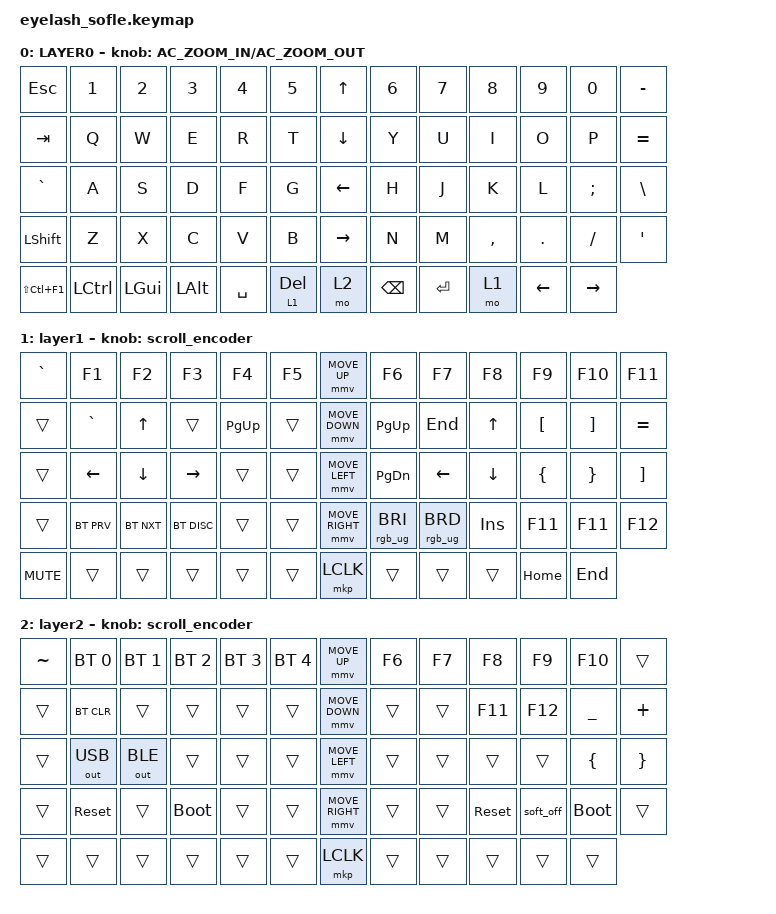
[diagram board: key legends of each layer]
#define ZMK_POINTING_DEFAULT_MOVE_VAL 1200  // 600
#define ZMK_POINTING_DEFAULT_SCRL_VAL 25   // 10

#include <input/processors.dtsi>
#include <zephyr/dt-bindings/input/input-event-codes.h>
#include <behaviors.dtsi>
#include <dt-bindings/zmk/bt.h>
#include <dt-bindings/zmk/keys.h>
#include <dt-bindings/zmk/outputs.h>
#include <dt-bindings/zmk/pointing.h>
#include <dt-bindings/zmk/rgb.h>

&mmv_input_listener { input-processors = <&zip_xy_scaler 2 1>; };

&msc_input_listener { input-processors = <&zip_scroll_scaler 2 1>; };

&msc {
    acceleration-exponent = <1>;      // 0
    time-to-max-speed-ms = <100>;       // 300
    delay-ms = <0>;                   // 0
};

&mmv {
    time-to-max-speed-ms = <500>;
    acceleration-exponent = <1>;
    trigger-period-ms = <16>;
};

&soft_off { hold-time-ms = <2000>; };

/ {
    scroll_encoder: scroll_encoder {
        compatible = "zmk,behavior-sensor-rotate";
        #sensor-binding-cells = <0>;
        bindings = <&msc SCRL_DOWN>, <&msc SCRL_UP>;

        tap-ms = <100>;
    };

    behaviors {
    };

    combos {
        compatible = "zmk,combos";

        softoff {
            bindings = <&soft_off>;
            key-positions = <14 28 40>;
        };

        down_arr {
            bindings = <&kp DOWN_ARROW>;
            key-positions = <62 63>;
        };

        kk2r {
            bindings = <&kp RIGHT_BRACKET>;
            key-positions = <23 24>;
        };

        kk2l {
            bindings = <&kp LEFT_BRACKET>;
            key-positions = <15 14>;
        };

        esc {
            bindings = <&kp ESCAPE>;
            key-positions = <0 1>;
        };

        up_arrow {
            bindings = <&kp UP_ARROW>;
            key-positions = <48 49>;
        };

        f13 {
            bindings = <&kt F13>;
            key-positions = <30 29>;
        };

        f14 {
            bindings = <&kp F14>;
            key-positions = <34 35>;
        };
    };

    macros {
        SHIFT_MCLK: SHIFT_MCLK {
            compatible = "zmk,behavior-macro";
            #binding-cells = <0>;
            bindings =
                <&macro_press>,
                <&kp LEFT_SHIFT>,
                <&macro_press>,
                <&mkp MB3>,
                <&macro_pause_for_release>,
                <&macro_release>,
                <&kp LEFT_SHIFT &mkp MB3>;

            label = "SHIFT_MCLK";
        };
    };

    keymap {
        compatible = "zmk,keymap";

        layer0 {
            bindings = <
&kp ESCAPE      &kp N1     &kp N2        &kp N3        &kp N4     &kp N5       &kp UP_ARROW     &kp N6         &kp N7     &kp N8     &kp N9          &kp N0           &kp MINUS
&kp TAB         &kp Q      &kp W         &kp E         &kp R      &kp T        &kp DOWN_ARROW   &kp Y          &kp U      &kp I      &kp O           &kp P            &kp EQUAL
&kp GRAVE       &kp A      &kp S         &kp D         &kp F      &kp G        &kp LEFT_ARROW   &kp H          &kp J      &kp K      &kp L           &kp SEMI         &kp BACKSLASH
&kp LSHIFT      &kp Z      &kp X         &kp C         &kp V      &kp B        &kp RIGHT_ARROW  &kp N          &kp M      &kp COMMA  &kp DOT         &kp FSLH         &kp SQT
&kp LS(LC(F1))  &kp LCTRL  &kp LEFT_GUI  &kp LEFT_ALT  &kp SPACE  &lt 1 DEL    &mo 2            &kp BACKSPACE  &kp ENTER  &mo 1      &kp LEFT_ARROW  &kp RIGHT_ARROW
            >;

            sensor-bindings = <&inc_dec_kp C_AC_ZOOM_IN C_AC_ZOOM_OUT>;
            display-name = "LAYER0";
        };

        layer_1 {
            bindings = <
&kp GRAVE   &kp F1          &kp F2          &kp F3           &kp F4       &kp F5    &mmv MOVE_UP     &kp F6           &kp F7           &kp F8      &kp F9            &kp F10            &kp F11
&trans      &kp GRAVE       &kp UP_ARROW    &trans           &kp PAGE_UP  &trans    &mmv MOVE_DOWN   &kp PG_UP        &kp END          &kp UP      &kp LEFT_BRACKET  &kp RIGHT_BRACKET  &kp EQUAL
&trans      &kp LEFT_ARROW  &kp DOWN_ARROW  &kp RIGHT_ARROW  &trans       &trans    &mmv MOVE_LEFT   &kp PG_DN        &kp LEFT         &kp DOWN    &kp LEFT_BRACE    &kp RIGHT_BRACE    &kp RIGHT_BRACKET
&trans      &bt BT_PRV      &bt BT_NXT      &bt BT_DISC      &trans       &trans    &mmv MOVE_RIGHT  &rgb_ug RGB_BRI  &rgb_ug RGB_BRD  &kp INSERT  &kp F11           &kp F11            &kp F12
&kp C_MUTE  &trans          &trans          &trans           &trans       &trans    &mkp LCLK        &trans           &trans           &trans      &kp HOME          &kp END
            >;

            display-name = "layer1";
            sensor-bindings = <&scroll_encoder>;
        };

        layer_2 {
            bindings = <
&kp TILDE  &bt BT_SEL 0  &bt BT_SEL 1  &bt BT_SEL 2  &bt BT_SEL 3  &bt BT_SEL 4    &mmv MOVE_UP     &kp F6  &kp F7  &kp F8      &kp F9     &kp F10      &trans
&trans     &bt BT_CLR    &trans        &trans        &trans        &trans          &mmv MOVE_DOWN   &trans  &trans  &kp F11     &kp F12    &kp UNDER    &kp PLUS
&trans     &out OUT_USB  &out OUT_BLE  &trans        &trans        &trans          &mmv MOVE_LEFT   &trans  &trans  &trans      &trans     &kp LBRC     &kp RBRC
&trans     &sys_reset    &trans        &bootloader   &trans        &trans          &mmv MOVE_RIGHT  &trans  &trans  &sys_reset  &soft_off  &bootloader  &trans
&trans     &trans        &trans        &trans        &trans        &trans          &mkp LCLK        &trans  &trans  &trans      &trans     &trans
            >;

            display-name = "layer2";
            sensor-bindings = <&scroll_encoder>;
        };
    };
};
